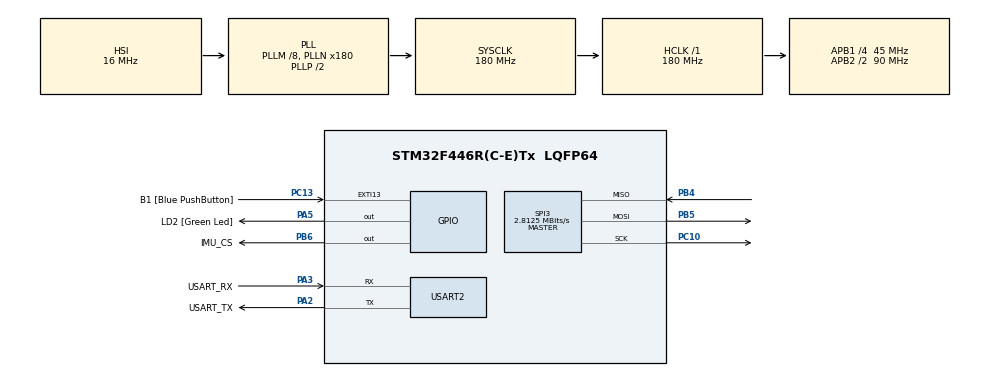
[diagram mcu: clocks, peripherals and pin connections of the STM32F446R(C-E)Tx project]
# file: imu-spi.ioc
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Mcu.Family=STM32F4
Mcu.Name=STM32F446R(C-E)Tx
Mcu.Package=LQFP64
NVIC.PriorityGroup=NVIC_PRIORITYGROUP_0
PA13.GPIO_Label=TMS
PA13.Mode=Serial_Wire
PA13.Signal=SYS_JTMS-SWDIO
PA14.GPIO_Label=TCK
PA14.Mode=Serial_Wire
PA14.Signal=SYS_JTCK-SWCLK
PA2.GPIO_Label=USART_TX
PA2.Mode=Asynchronous
PA2.Signal=USART2_TX
PA3.GPIO_Label=USART_RX
PA3.Mode=Asynchronous
PA3.Signal=USART2_RX
PA5.GPIO_Label=LD2 [Green Led]
PA5.Signal=GPIO_Output
PB3.GPIO_Label=SWO
PB3.Signal=SYS_JTDO-SWO
PB4.Mode=Full_Duplex_Master
PB4.Signal=SPI3_MISO
PB5.Mode=Full_Duplex_Master
PB5.Signal=SPI3_MOSI
PB6.GPIO_Label=IMU_CS
PB6.GPIO_PuPd=GPIO_PULLUP
PB6.GPIO_Speed=GPIO_SPEED_FREQ_VERY_HIGH
PB6.PinState=GPIO_PIN_SET
PB6.Signal=GPIO_Output
PC10.Mode=Full_Duplex_Master
PC10.Signal=SPI3_SCK
PC13.GPIO_Label=B1 [Blue PushButton]
PC13.GPIO_ModeDefaultEXTI=GPIO_MODE_IT_FALLING
PC13.Signal=GPXTI13
PC14-OSC32_IN.Mode=LSE-External-Oscillator
PC14-OSC32_IN.Signal=RCC_OSC32_IN
PC15-OSC32_OUT.Mode=LSE-External-Oscillator
PC15-OSC32_OUT.Signal=RCC_OSC32_OUT
PH0-OSC_IN.Mode=HSE-External-Oscillator
PH0-OSC_IN.Signal=RCC_OSC_IN
PH1-OSC_OUT.Mode=HSE-External-Oscillator
PH1-OSC_OUT.Signal=RCC_OSC_OUT
ProjectManager.HeapSize=0x200
ProjectManager.StackSize=0x400
ProjectManager.TargetToolchain=STM32CubeIDE
RCC.48MHZClocksFreq_Value=180000000
RCC.AHBFreq_Value=180000000
RCC.APB1CLKDivider=RCC_HCLK_DIV4
RCC.APB1Freq_Value=45000000
RCC.APB1TimFreq_Value=90000000
RCC.APB2CLKDivider=RCC_HCLK_DIV2
RCC.APB2Freq_Value=90000000
RCC.APB2TimFreq_Value=180000000
RCC.CortexFreq_Value=180000000
RCC.FLatency-AdvancedSettings=FLASH_LATENCY_5
RCC.HCLKFreq_Value=180000000
RCC.HSE_VALUE=8000000
RCC.HSI_VALUE=16000000
RCC.PLLM=8
RCC.PLLN=180
RCC.PLLP=RCC_PLLP_DIV2
RCC.SYSCLKFreq_VALUE=180000000
RCC.SYSCLKSource=RCC_SYSCLKSOURCE_PLLCLK
RCC.USBFreq_Value=180000000
RCC.VCOOutputFreq_Value=360000000
SPI3.BaudRatePrescaler=SPI_BAUDRATEPRESCALER_16
SPI3.CLKPhase=SPI_PHASE_2EDGE
SPI3.CLKPolarity=SPI_POLARITY_HIGH
SPI3.CalculateBaudRate=2.8125 MBits/s
SPI3.Direction=SPI_DIRECTION_2LINES
SPI3.Mode=SPI_MODE_MASTER
SPI3.VirtualType=VM_MASTER
USART2.VirtualMode=VM_ASYNC
board=NUCLEO-F446RE

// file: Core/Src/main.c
/* USER CODE BEGIN Header */
/**
  ******************************************************************************
  * @file           : main.c
  * @brief          : Main program body
  ******************************************************************************
  * @attention
  *
  * Copyright (c) 2026 STMicroelectronics.
  * All rights reserved.
  *
  * This software is licensed under terms that can be found in the LICENSE file
  * in the root directory of this software component.
  * If no LICENSE file comes with this software, it is provided AS-IS.
  *
  ******************************************************************************
  */
/* USER CODE END Header */
#include "main.h"
#include "spi.h"
#include "usart.h"
#include "gpio.h"

/* USER CODE BEGIN Includes */
#include "lsm6dso32_reg.h"
#include "lsm6dso32_port.h"
#include <stdio.h>
#include <string.h>
/* USER CODE END Includes */

/* USER CODE BEGIN PD */
#define IMU_BOOT_TIME_MS     35  // Turn-on time
#define TX_BUF_SIZE          96  // Enough for one CSV line
#define LED_BLINK_DIV        52  // Samples per LD2 toggle (~1 Hz blink at 104 Hz ODR)
#define IMU_RESET_TIMEOUT_MS 100 // Ceiling on the software-reset flag poll

/* Set to 1, jumper PB5 (MOSI) to PB4 (MISO), and unplug the sensor to test
   the STM32 side of the bus on its own. Set back to 0 for normal operation. */
#define IMU_SPI_LOOPBACK_TEST 0

/* Set to 1 with the sensor wired up as normal. Reports what is on the far
   end of the MISO wire, then pulses CS so it can be caught on a meter. */
#define IMU_SPI_PIN_PROBE 0

/* Set to 1 to read WHO_AM_I forever at ~200 Hz, so a scope has a repeating
   transaction to trigger on. Never returns. Set back to 0 to run normally. */
#define IMU_SPI_SCOPE_LOOP 0
/* USER CODE END PD */

/* USER CODE BEGIN PV */
static lsm6dso32_spi_bus_t imu_bus = { &hspi3, IMU_CS_GPIO_Port, IMU_CS_Pin };
static stmdev_ctx_t imu;
/* USER CODE END PV */

void SystemClock_Config(void);
/* USER CODE BEGIN PFP */
static void imu_init(void);
static void imu_stream(void);
/* USER CODE END PFP */

/* USER CODE BEGIN 0 */

#if IMU_SPI_LOOPBACK_TEST
/**
  * @brief  Bus self-test with the sensor out of the picture: wire PB5 to PB4
  *         and every byte sent must come back identical. Passing puts the
  *         fault on the breakout or its wiring, failing on the STM32 side.
  * @retval None
  */
static void spi_loopback_test(void)
{
  /* Mixed and alternating bits to catch a stuck clock */
  static const uint8_t tx[] = { 0x6C, 0xA5, 0x5A, 0x00, 0xFF };
  uint8_t rx[sizeof(tx)] = { 0 };
  char line[TX_BUF_SIZE];

  /* CS stays high: nothing is listening, this only exercises the pins */
  HAL_StatusTypeDef st = HAL_SPI_TransmitReceive(&hspi3, (uint8_t *)tx, rx,
                                                 sizeof(tx), 100);

  int n = snprintf(line, sizeof(line),
                   "loopback hal=%d sent %02X %02X %02X %02X %02X got %02X %02X %02X %02X %02X\r\n",
                   (int)st, tx[0], tx[1], tx[2], tx[3], tx[4],
                   rx[0], rx[1], rx[2], rx[3], rx[4]);
  HAL_UART_Transmit(&huart2, (uint8_t *)line, n, HAL_MAX_DELAY);

  const char *verdict = (memcmp(tx, rx, sizeof(tx)) == 0)
                        ? "loopback PASS: STM32 side is good, fault is the breakout or wiring\r\n"
                        : "loopback FAIL: fault is on the STM32 side, sensor is not involved\r\n";
  HAL_UART_Transmit(&huart2, (uint8_t *)verdict, strlen(verdict), HAL_MAX_DELAY);
}
#endif

#if IMU_SPI_PIN_PROBE
/**
  * @brief  Read PB4 as an input under the internal pull-up and then the
  *         pull-down. An open wire follows the pull; one reaching the powered
  *         breakout is held by the board network. Separates "DO is not
  *         connected" from "DO is connected but never driven" -- both read
  *         back 0xFF at the SPI layer.
  * @retval Pin level with that pull applied
  */
static uint8_t probe_miso(uint32_t pull)
{
  GPIO_InitTypeDef g = {0};

  g.Pin   = GPIO_PIN_4;
  g.Mode  = GPIO_MODE_INPUT;
  g.Pull  = pull;
  g.Speed = GPIO_SPEED_FREQ_LOW;
  HAL_GPIO_Init(GPIOB, &g);

  HAL_Delay(2);

  return HAL_GPIO_ReadPin(GPIOB, GPIO_PIN_4);
}

static void spi_pin_probe(void)
{
  uint8_t pu = probe_miso(GPIO_PULLUP);
  uint8_t pd = probe_miso(GPIO_PULLDOWN);

  /* Hand PB4 back to SPI3 before anything tries a transfer */
  GPIO_InitTypeDef g = {0};

  g.Pin       = GPIO_PIN_4;
  g.Mode      = GPIO_MODE_AF_PP;
  g.Pull      = GPIO_NOPULL;
  g.Speed     = GPIO_SPEED_FREQ_VERY_HIGH;
  g.Alternate = GPIO_AF6_SPI3;
  HAL_GPIO_Init(GPIOB, &g);

  const char *verdict;

  if (pu && !pd)
    verdict = "  -> DO wire is open, or the breakout has no power\r\n";
  else if (pu && pd)
    verdict = "  -> DO is connected and held high; sensor is not driving\r\n";
  else if (!pu && !pd)
    verdict = "  -> DO is connected and clamped low\r\n";
  else
    verdict = "  -> inverted, which should not happen; suspect a short\r\n";

  char line[TX_BUF_SIZE];
  int  n = snprintf(line, sizeof(line), "MISO probe: pullup=%u pulldown=%u\r\n",
                    (unsigned)pu, (unsigned)pd);
  HAL_UART_Transmit(&huart2, (uint8_t *)line, n, HAL_MAX_DELAY);
  HAL_UART_Transmit(&huart2, (uint8_t *)verdict, strlen(verdict), HAL_MAX_DELAY);

  /* Slow enough to catch on a multimeter: PB6 should swing rail to rail */
  const char msg[] = "Pulsing CS on PB6 for 10 s, measure it against GND\r\n";
  HAL_UART_Transmit(&huart2, (uint8_t *)msg, sizeof(msg) - 1, HAL_MAX_DELAY);

  for (int i = 0; i < 10; i++) {
    HAL_GPIO_WritePin(IMU_CS_GPIO_Port, IMU_CS_Pin, GPIO_PIN_RESET);
    HAL_Delay(500);
    HAL_GPIO_WritePin(IMU_CS_GPIO_Port, IMU_CS_Pin, GPIO_PIN_SET);
    HAL_Delay(500);
  }
}
#endif

#if IMU_SPI_SCOPE_LOOP
/**
  * @brief  Repeat the same WHO_AM_I read so the bus carries a stable, scope-
  *         triggerable waveform on the CS falling edge. Prints the byte once
  *         a second.
  * @retval Never returns
  */
static void spi_scope_loop(void)
{
  imu = lsm6dso32_spi_ctx(&imu_bus);

  const char msg[] = "Scope loop: WHO_AM_I every 5 ms, trigger on CS falling\r\n";
  HAL_UART_Transmit(&huart2, (uint8_t *)msg, sizeof(msg) - 1, HAL_MAX_DELAY);

  uint32_t last_report = HAL_GetTick();
  uint8_t  whoami = 0;

  for (;;) {
    lsm6dso32_device_id_get(&imu, &whoami);

    if (HAL_GetTick() - last_report >= 1000) {
      last_report = HAL_GetTick();

      char line[TX_BUF_SIZE];
      int  n = snprintf(line, sizeof(line), "  WHO_AM_I = 0x%02X\r\n", whoami);
      HAL_UART_Transmit(&huart2, (uint8_t *)line, n, HAL_MAX_DELAY);
    }

    HAL_Delay(5);
  }
}
#endif

/**
  * @brief  Brings the LSM6DSO32 up on SPI3: confirms the sensor is responsive,
  *         restores a known register state, locks the bus to SPI, then sets
  *         the output ranges and data rates.
  * @retval None (traps in Error_Handler if the sensor does not respond)
  */
static void imu_init(void)
{
  uint8_t whoami;
  uint8_t rst;

  /* Constructor drives the chip select line idle-high */
  imu = lsm6dso32_spi_ctx(&imu_bus);

  /* Allow sensor turn-on time before the first transaction */
  HAL_Delay(IMU_BOOT_TIME_MS);

  /* Catch absent or wrong sensor ID:
       0x00        MISO stuck low: line not connected, or sensor not driving it
       0xFF        MISO floating high: CS never reaching the sensor, or no power
       0x6C        shifted (0xD8 / 0x36): a stray clock edge, check CPOL/CPHA
       other       wrong part, or the bus is picking up a different device */
  int32_t id_status = lsm6dso32_device_id_get(&imu, &whoami);

  if (id_status != 0 || whoami != LSM6DSO32_ID) {
    char msg[TX_BUF_SIZE];
    int  n = snprintf(msg, sizeof(msg),
                      "IMU WHO_AM_I: got 0x%02X, want 0x%02X (bus status %ld)\r\n",
                      whoami, LSM6DSO32_ID, (long)id_status);
    HAL_UART_Transmit(&huart2, (uint8_t *)msg, n, HAL_MAX_DELAY);
    Error_Handler();
  }

  /* Software reset, then wait for sensor to clear the flag */
  lsm6dso32_reset_set(&imu, PROPERTY_ENABLE);

  uint32_t reset_start = HAL_GetTick();

  do {
    if (lsm6dso32_reset_get(&imu, &rst) != 0 ||
        HAL_GetTick() - reset_start > IMU_RESET_TIMEOUT_MS) {
      const char err[] = "IMU software reset did not complete\r\n";
      HAL_UART_Transmit(&huart2, (uint8_t *)err, sizeof(err) - 1, HAL_MAX_DELAY);
      Error_Handler();
    }
  } while (rst);

  /* Disable I2C and set the 4-wire mode for SPI */
  lsm6dso32_i2c_interface_set(&imu, LSM6DSO32_I2C_DISABLE);
  lsm6dso32_spi_mode_set(&imu, LSM6DSO32_SPI_4_WIRE);

  /* Output registers are not updated until both MSB and LSB have been read */
  lsm6dso32_block_data_update_set(&imu, PROPERTY_ENABLE);

  /* Measurement ranges */
  lsm6dso32_xl_full_scale_set(&imu, LSM6DSO32_16g);
  lsm6dso32_gy_full_scale_set(&imu, LSM6DSO32_2000dps);

  /* Output data rates */
  lsm6dso32_xl_data_rate_set(&imu, LSM6DSO32_XL_ODR_104Hz_HIGH_PERF);
  lsm6dso32_gy_data_rate_set(&imu, LSM6DSO32_GY_ODR_104Hz_HIGH_PERF);
}

/**
  * @brief  Polls the data-ready flags and sends one CSV sample per new
  *         reading. Returns immediately when nothing fresh is waiting, so
  *         the caller sets the pace, not this function.
  *
  *         Line format, one per sample:
  *           t_ms,ax_mg,ay_mg,az_mg,gx_mdps,gy_mdps,gz_mdps
  * @retval None
  */
static void imu_stream(void)
{
  uint8_t xl_ready = 0;
  uint8_t gy_ready = 0;
  int16_t raw_xl[3];
  int16_t raw_gy[3];
  char line[TX_BUF_SIZE];

  lsm6dso32_xl_flag_data_ready_get(&imu, &xl_ready);
  lsm6dso32_gy_flag_data_ready_get(&imu, &gy_ready);

  if (!xl_ready || !gy_ready)
    return;

  lsm6dso32_acceleration_raw_get(&imu, raw_xl);
  lsm6dso32_angular_rate_raw_get(&imu, raw_gy);

  /* Scale helpers must match the ranges set in IMU_Init. Values are kept in
     mg / mdps as integers so the line needs no float formatting */
  int len = snprintf(line, sizeof(line),
                     "%lu,%ld,%ld,%ld,%ld,%ld,%ld\n",
                     (unsigned long)HAL_GetTick(),
                     (long)lsm6dso32_from_fs16_to_mg(raw_xl[0]),
                     (long)lsm6dso32_from_fs16_to_mg(raw_xl[1]),
                     (long)lsm6dso32_from_fs16_to_mg(raw_xl[2]),
                     (long)lsm6dso32_from_fs2000_to_mdps(raw_gy[0]),
                     (long)lsm6dso32_from_fs2000_to_mdps(raw_gy[1]),
                     (long)lsm6dso32_from_fs2000_to_mdps(raw_gy[2]));

  HAL_UART_Transmit(&huart2, (uint8_t *)line, len, HAL_MAX_DELAY);

  /* Heartbeat on LD2, divided down to a visible rate.
     Blinking means samples are still going out; solid or dark means the stream stopped */
  static uint16_t led_div;

  if (++led_div >= LED_BLINK_DIV) {
    led_div = 0;
    HAL_GPIO_TogglePin(LD2_GPIO_Port, LD2_Pin);
  }
}

/* USER CODE END 0 */

int main(void)
{

  /* MCU Configuration--------------------------------------------------------*/

  /* Reset of all peripherals, Initializes the Flash interface and the Systick. */
  HAL_Init();

  /* Configure the system clock */
  SystemClock_Config();

  /* Initialize all configured peripherals */
  MX_GPIO_Init();
  MX_USART2_UART_Init();
  MX_SPI3_Init();
  /* USER CODE BEGIN 2 */
#if IMU_SPI_SCOPE_LOOP
  spi_scope_loop();
#endif
#if IMU_SPI_PIN_PROBE
  spi_pin_probe();
#endif
#if IMU_SPI_LOOPBACK_TEST
  spi_loopback_test();
#endif
  imu_init();

  const char header[] = "t_ms,ax_mg,ay_mg,az_mg,gx_mdps,gy_mdps,gz_mdps\n";
  HAL_UART_Transmit(&huart2, (uint8_t *)header, sizeof(header) - 1, HAL_MAX_DELAY);
  /* USER CODE END 2 */

  /* Infinite loop */
  while (1)
  {

    /* USER CODE BEGIN 3 */
	  imu_stream();
  }
  /* USER CODE END 3 */
}

void SystemClock_Config(void)
{
  RCC_OscInitTypeDef RCC_OscInitStruct = {0};
  RCC_ClkInitTypeDef RCC_ClkInitStruct = {0};

  /** Configure the main internal regulator output voltage
  */
  __HAL_RCC_PWR_CLK_ENABLE();
  __HAL_PWR_VOLTAGESCALING_CONFIG(PWR_REGULATOR_VOLTAGE_SCALE1);

  /** Initializes the RCC Oscillators according to the specified parameters
  * in the RCC_OscInitTypeDef structure.
  */
  RCC_OscInitStruct.OscillatorType = RCC_OSCILLATORTYPE_HSI;
  RCC_OscInitStruct.HSIState = RCC_HSI_ON;
  RCC_OscInitStruct.HSICalibrationValue = RCC_HSICALIBRATION_DEFAULT;
  RCC_OscInitStruct.PLL.PLLState = RCC_PLL_ON;
  RCC_OscInitStruct.PLL.PLLSource = RCC_PLLSOURCE_HSI;
  RCC_OscInitStruct.PLL.PLLM = 8;
  RCC_OscInitStruct.PLL.PLLN = 180;
  RCC_OscInitStruct.PLL.PLLP = RCC_PLLP_DIV2;
  RCC_OscInitStruct.PLL.PLLQ = 2;
  RCC_OscInitStruct.PLL.PLLR = 2;
  if (HAL_RCC_OscConfig(&RCC_OscInitStruct) != HAL_OK)
  {
    Error_Handler();
  }

  /** Activate the Over-Drive mode
  */
  if (HAL_PWREx_EnableOverDrive() != HAL_OK)
  {
    Error_Handler();
  }

  /** Initializes the CPU, AHB and APB buses clocks
  */
  RCC_ClkInitStruct.ClockType = RCC_CLOCKTYPE_HCLK|RCC_CLOCKTYPE_SYSCLK
                              |RCC_CLOCKTYPE_PCLK1|RCC_CLOCKTYPE_PCLK2;
  RCC_ClkInitStruct.SYSCLKSource = RCC_SYSCLKSOURCE_PLLCLK;
  RCC_ClkInitStruct.AHBCLKDivider = RCC_SYSCLK_DIV1;
  RCC_ClkInitStruct.APB1CLKDivider = RCC_HCLK_DIV4;
  RCC_ClkInitStruct.APB2CLKDivider = RCC_HCLK_DIV2;

  if (HAL_RCC_ClockConfig(&RCC_ClkInitStruct, FLASH_LATENCY_5) != HAL_OK)
  {
    Error_Handler();
  }
}

void Error_Handler(void)
{
  __disable_irq();
  while (1)
  {
  }
}
